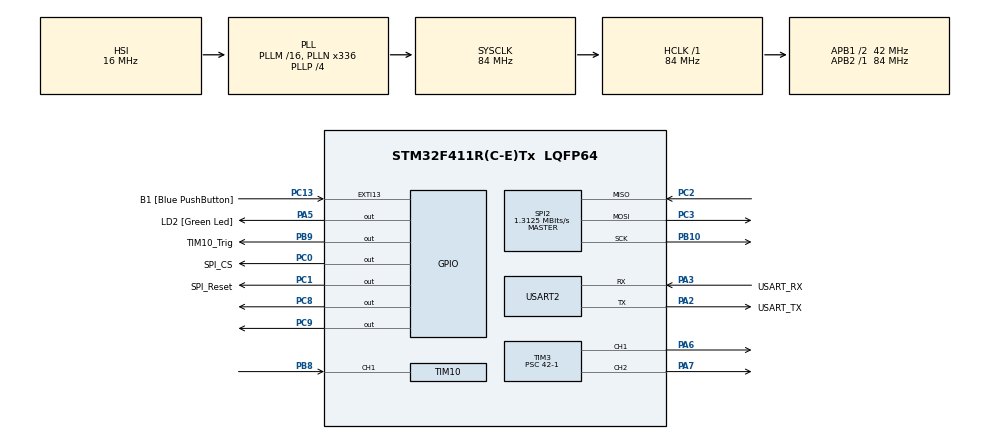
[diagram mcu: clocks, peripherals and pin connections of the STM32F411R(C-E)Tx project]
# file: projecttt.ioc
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FREERTOS.Mutexes01=accessBarang,Dynamic,NULL,Available
FREERTOS.Tasks01=defaultTask,0,128,StartDefaultTask,Default,NULL,Dynamic,NULL,NULL;myRFID,1,128,read_RFID,Default,NULL,Dynamic,NULL,NULL;myConveyor,2,128,move_conveyor,Default,NULL,Dynamic,NULL,NULL
FREERTOS.configUSE_NEWLIB_REENTRANT=1
Mcu.Family=STM32F4
Mcu.Name=STM32F411R(C-E)Tx
Mcu.Package=LQFP64
NVIC.PriorityGroup=NVIC_PRIORITYGROUP_4
NVIC.TIM1_TRG_COM_TIM11_IRQn=true\:15\:0\:false\:false\:true\:false\:false\:true\:true
NVIC.TIM1_UP_TIM10_IRQn=true\:15\:0\:false\:false\:true\:false\:true\:true\:true
NVIC.TimeBase=TIM1_TRG_COM_TIM11_IRQn
NVIC.TimeBaseIP=TIM11
PA13.GPIO_Label=TMS
PA13.Mode=Serial_Wire
PA13.Signal=SYS_JTMS-SWDIO
PA14.GPIO_Label=TCK
PA14.Mode=Serial_Wire
PA14.Signal=SYS_JTCK-SWCLK
PA2.GPIO_Label=USART_TX
PA2.Mode=Asynchronous
PA2.Signal=USART2_TX
PA3.GPIO_Label=USART_RX
PA3.Mode=Asynchronous
PA3.Signal=USART2_RX
PA5.GPIO_Label=LD2 [Green Led]
PA5.Signal=GPIO_Output
PA6.Signal=S_TIM3_CH1
PA7.Signal=S_TIM3_CH2
PB10.Mode=Full_Duplex_Master
PB10.Signal=SPI2_SCK
PB3.GPIO_Label=SWO
PB3.Signal=SYS_JTDO-SWO
PB8.Signal=S_TIM10_CH1
PB9.GPIO_Label=TIM10_Trig
PB9.Signal=GPIO_Output
PC0.GPIO_Label=SPI_CS
PC0.GPIO_PuPd=GPIO_NOPULL
PC0.Signal=GPIO_Output
PC1.GPIO_Label=SPI_Reset
PC1.Signal=GPIO_Output
PC13-ANTI_TAMP.GPIO_Label=B1 [Blue PushButton]
PC13-ANTI_TAMP.GPIO_ModeDefaultEXTI=GPIO_MODE_IT_FALLING
PC13-ANTI_TAMP.Signal=GPXTI13
PC14-OSC32_IN.Mode=LSE-External-Oscillator
PC14-OSC32_IN.Signal=RCC_OSC32_IN
PC15-OSC32_OUT.Mode=LSE-External-Oscillator
PC15-OSC32_OUT.Signal=RCC_OSC32_OUT
PC2.Mode=Full_Duplex_Master
PC2.Signal=SPI2_MISO
PC3.Mode=Full_Duplex_Master
PC3.Signal=SPI2_MOSI
PC8.Signal=GPIO_Output
PC9.Signal=GPIO_Output
PH0\ -\ OSC_IN.Mode=HSE-External-Clock-Source
PH0\ -\ OSC_IN.Signal=RCC_OSC_IN
PH1\ -\ OSC_OUT.Mode=HSE-External-Clock-Source
PH1\ -\ OSC_OUT.Signal=RCC_OSC_OUT
ProjectManager.HeapSize=0x200
ProjectManager.StackSize=0x400
ProjectManager.TargetToolchain=STM32CubeIDE
RCC.48MHZClocksFreq_Value=84000000
RCC.AHBFreq_Value=84000000
RCC.APB1CLKDivider=RCC_HCLK_DIV2
RCC.APB1Freq_Value=42000000
RCC.APB1TimFreq_Value=84000000
RCC.APB2Freq_Value=84000000
RCC.APB2TimFreq_Value=84000000
RCC.CortexFreq_Value=84000000
RCC.FLatency-AdvancedSettings=FLASH_LATENCY_2
RCC.HCLKFreq_Value=84000000
RCC.HSE_VALUE=8000000
RCC.HSI_VALUE=16000000
RCC.PLLN=336
RCC.PLLP=RCC_PLLP_DIV4
RCC.SYSCLKFreq_VALUE=84000000
RCC.SYSCLKSource=RCC_SYSCLKSOURCE_PLLCLK
RCC.VCOOutputFreq_Value=336000000
SH.S_TIM10_CH1.0=TIM10_CH1,Input_Capture1_from_TI1
SH.S_TIM3_CH1.0=TIM3_CH1,PWM Generation1 CH1
SH.S_TIM3_CH2.0=TIM3_CH2,PWM Generation2 CH2
SPI2.BaudRatePrescaler=SPI_BAUDRATEPRESCALER_32
SPI2.CalculateBaudRate=1.3125 MBits/s
SPI2.Direction=SPI_DIRECTION_2LINES
SPI2.Mode=SPI_MODE_MASTER
SPI2.VirtualType=VM_MASTER
TIM10.Channel=TIM_CHANNEL_1
TIM10.Prescaler=84-1
TIM3.Channel-PWM\ Generation1\ CH1=TIM_CHANNEL_1
TIM3.Channel-PWM\ Generation2\ CH2=TIM_CHANNEL_2
TIM3.Prescaler=42-1
USART2.VirtualMode=VM_ASYNC
VP_FREERTOS_VS_CMSIS_V1.Mode=CMSIS_V1
VP_SYS_VS_tim11.Mode=TIM11
VP_TIM10_VS_ClockSourceINT.Mode=Enable_Timer
VP_TIM3_VS_ClockSourceINT.Mode=Internal
board=NUCLEO-F411RE

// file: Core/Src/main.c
/* USER CODE BEGIN Header */
/**
  ******************************************************************************
  * @file           : main.c
  * @brief          : Main program body
  ******************************************************************************
  * @attention
  *
  * Copyright (c) 2026 STMicroelectronics.
  * All rights reserved.
  *
  * This software is licensed under terms that can be found in the LICENSE file
  * in the root directory of this software component.
  * If no LICENSE file comes with this software, it is provided AS-IS.
  *
  ******************************************************************************
  */
/* USER CODE END Header */
#include "main.h"
#include "cmsis_os.h"
#include "spi.h"
#include "tim.h"
#include "usart.h"
#include "gpio.h"

/* USER CODE BEGIN PM */

//#define TRIG_PIN GPIO_PIN_9
//#define TRIG_PORT GPIOB
/* USER CODE END PM */

void SystemClock_Config(void);
void MX_FREERTOS_Init(void);

/* USER CODE BEGIN 0 */

/*
void delay (uint16_t time)
{
	__HAL_TIM_SET_COUNTER(&htim10, 0);
	while (__HAL_TIM_GET_COUNTER (&htim10) < time);
}

uint32_t IC_Val1 = 0;
uint32_t IC_Val2 = 0;
uint32_t Difference = 0;
uint8_t Is_First_Captured = 0;  // is the first value captured ?
uint8_t Distance  = 0;

void HAL_TIM_IC_CaptureCallback(TIM_HandleTypeDef *htim)
{
	if (htim->Channel == HAL_TIM_ACTIVE_CHANNEL_10)  // if the interrupt source is channel1
	{
		if (Is_First_Captured==0) // if the first value is not captured
		{
			IC_Val1 = HAL_TIM_ReadCapturedValue(htim, TIM_CHANNEL_10); // read the first value
			Is_First_Captured = 1;  // set the first captured as true
			// Now change the polarity to falling edge
			__HAL_TIM_SET_CAPTUREPOLARITY(htim, TIM_CHANNEL_10, TIM_INPUTCHANNELPOLARITY_FALLING);
		}

		else if (Is_First_Captured==1)   // if the first is already captured
		{
			IC_Val2 = HAL_TIM_ReadCapturedValue(htim, TIM_CHANNEL_10);  // read second value
			__HAL_TIM_SET_COUNTER(htim, 0);  // reset the counter

			if (IC_Val2 > IC_Val1)
			{
				Difference = IC_Val2-IC_Val1;
			}

			else if (IC_Val1 > IC_Val2)
			{
				Difference = (0xffff - IC_Val1) + IC_Val2;
			}

			Distance = Difference * .034/2; //cek ntar jaraknya
			Is_First_Captured = 0; // set it back to false

			// set polarity to rising edge
			__HAL_TIM_SET_CAPTUREPOLARITY(htim, TIM_CHANNEL_10, TIM_INPUTCHANNELPOLARITY_RISING);
			__HAL_TIM_DISABLE_IT(&htim10, TIM_IT_CC1);
		}
	}
}
void HCSR04_Read (void)
{
	HAL_GPIO_WritePin(TRIG_PORT, TRIG_PIN, GPIO_PIN_SET);  // pull the TRIG pin HIGH
	delay(10);  // wait for 10 us
	HAL_GPIO_WritePin(TRIG_PORT, TRIG_PIN, GPIO_PIN_RESET);  // pull the TRIG pin low

	__HAL_TIM_ENABLE_IT(&htim10, TIM_IT_CC1);
}*/
/* USER CODE END 0 */

int main(void)
{

  /* MCU Configuration--------------------------------------------------------*/

  /* Reset of all peripherals, Initializes the Flash interface and the Systick. */
  HAL_Init();

  /* Configure the system clock */
  SystemClock_Config();

  /* Initialize all configured peripherals */
  MX_GPIO_Init();
  MX_USART2_UART_Init();
  MX_SPI2_Init();
  MX_TIM10_Init();
  MX_TIM3_Init();
  /* USER CODE BEGIN 2 */
  //MFRC522_Init(&rfID);
  HAL_TIM_IC_Start_IT(&htim10, TIM_CHANNEL_1);
  /* USER CODE END 2 */

  /* Call init function for freertos objects (in cmsis_os2.c) */
  MX_FREERTOS_Init();

  /* Start scheduler */
  osKernelStart();

  /* We should never get here as control is now taken by the scheduler */

  /* Infinite loop */
  /* USER CODE BEGIN WHILE */
/*
	HAL_GPIO_WritePin(GPIOC, GPIO_PIN_8, GPIO_PIN_SET);
	HAL_GPIO_WritePin(GPIOC, GPIO_PIN_9, GPIO_PIN_SET);

	// Start PWM Channels
	HAL_TIM_PWM_Start(&htim3, TIM_CHANNEL_1); // RPWM
	HAL_TIM_PWM_Start(&htim3, TIM_CHANNEL_2); // LPWM*/
  while (1)
  {
    /* USER CODE END WHILE */

    /* USER CODE BEGIN 3 */
	  //HCSR04_Read();
	  /*
	  __HAL_TIM_SET_COMPARE(&htim3, TIM_CHANNEL_1, 1500);
	  __HAL_TIM_SET_COMPARE(&htim3, TIM_CHANNEL_2, 0);
	  if (waitcardDetect(&rfID) == STATUS_OK){
		  if (MFRC522_ReadUid(&rfID, uid) == STATUS_OK){
			  USER_LOG("CARD ID:%02X %02X %02X %02X", uid[0], uid[1], uid[2], uid[3]);
		  }
		  waitcardRemoval(&rfID);
	  }
*/
  }
  /* USER CODE END 3 */
}

void SystemClock_Config(void)
{
  RCC_OscInitTypeDef RCC_OscInitStruct = {0};
  RCC_ClkInitTypeDef RCC_ClkInitStruct = {0};

  /** Configure the main internal regulator output voltage
  */
  __HAL_RCC_PWR_CLK_ENABLE();
  __HAL_PWR_VOLTAGESCALING_CONFIG(PWR_REGULATOR_VOLTAGE_SCALE1);

  /** Initializes the RCC Oscillators according to the specified parameters
  * in the RCC_OscInitTypeDef structure.
  */
  RCC_OscInitStruct.OscillatorType = RCC_OSCILLATORTYPE_HSI;
  RCC_OscInitStruct.HSIState = RCC_HSI_ON;
  RCC_OscInitStruct.HSICalibrationValue = RCC_HSICALIBRATION_DEFAULT;
  RCC_OscInitStruct.PLL.PLLState = RCC_PLL_ON;
  RCC_OscInitStruct.PLL.PLLSource = RCC_PLLSOURCE_HSI;
  RCC_OscInitStruct.PLL.PLLM = 16;
  RCC_OscInitStruct.PLL.PLLN = 336;
  RCC_OscInitStruct.PLL.PLLP = RCC_PLLP_DIV4;
  RCC_OscInitStruct.PLL.PLLQ = 4;
  if (HAL_RCC_OscConfig(&RCC_OscInitStruct) != HAL_OK)
  {
    Error_Handler();
  }

  /** Initializes the CPU, AHB and APB buses clocks
  */
  RCC_ClkInitStruct.ClockType = RCC_CLOCKTYPE_HCLK|RCC_CLOCKTYPE_SYSCLK
                              |RCC_CLOCKTYPE_PCLK1|RCC_CLOCKTYPE_PCLK2;
  RCC_ClkInitStruct.SYSCLKSource = RCC_SYSCLKSOURCE_PLLCLK;
  RCC_ClkInitStruct.AHBCLKDivider = RCC_SYSCLK_DIV1;
  RCC_ClkInitStruct.APB1CLKDivider = RCC_HCLK_DIV2;
  RCC_ClkInitStruct.APB2CLKDivider = RCC_HCLK_DIV1;

  if (HAL_RCC_ClockConfig(&RCC_ClkInitStruct, FLASH_LATENCY_2) != HAL_OK)
  {
    Error_Handler();
  }
}

void HAL_TIM_PeriodElapsedCallback(TIM_HandleTypeDef *htim)
{
  if (htim->Instance == TIM11)
  {
    HAL_IncTick();
  }
}

void Error_Handler(void)
{
  __disable_irq();
  while (1)
  {
  }
}

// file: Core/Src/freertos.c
/* USER CODE BEGIN Header */
/**
  ******************************************************************************
  * File Name          : freertos.c
  * Description        : Code for freertos applications
  ******************************************************************************
  * @attention
  *
  * Copyright (c) 2026 STMicroelectronics.
  * All rights reserved.
  *
  * This software is licensed under terms that can be found in the LICENSE file
  * in the root directory of this software component.
  * If no LICENSE file comes with this software, it is provided AS-IS.
  *
  ******************************************************************************
  */
/* USER CODE END Header */

#include "FreeRTOS.h"
#include "task.h"
#include "main.h"
#include "cmsis_os.h"

/* USER CODE BEGIN Includes */
#include "tim.h"
#include "usart.h"
#include "spi.h"
#include "MFRC522_STM32.h"
#include <string.h>
/* USER CODE END Includes */

/* USER CODE BEGIN PTD */
typedef enum {
    IDLE,
	RFID_DETECT,
	WAITING_PICKUP
} RFIDState_t;
/* USER CODE END PTD */

/* USER CODE BEGIN PD */
#define CS_GPIO_Port GPIOC
#define CS_Pin GPIO_PIN_0
#define RESET_GPIO_Port GPIOC
#define RESET_Pin GPIO_PIN_1

/* USER CODE END PD */

/* USER CODE BEGIN Variables */
RFIDState_t RFID_state = IDLE;
uint8_t uid[4];
//uint8_t writeData[16] = "DATA 1 GANTI";
MFRC522_t rfID = {&hspi2, CS_GPIO_Port, CS_Pin, RESET_GPIO_Port, RESET_Pin};
/*struct dataRead {
	int tag_id;
	char nama_barang[25];
	char kategori[25];
	int berat;
	int kode_rak_tujuan;
};*/

int _write(int fd, unsigned char *buf, int len) {
  if (fd == 1 || fd == 2) {                     // stdout or stderr ?
    HAL_UART_Transmit(&huart2, buf, len, 999);  // Print to the UART
  }
  return len;
}
/* USER CODE END Variables */
osThreadId defaultTaskHandle;
osThreadId myRFIDHandle;
osThreadId myConveyorHandle;
osMutexId accessBarangHandle;

void StartDefaultTask(void const * argument);
void read_RFID(void const * argument);
void move_conveyor(void const * argument);

void MX_FREERTOS_Init(void); /* (MISRA C 2004 rule 8.1) */

/* GetIdleTaskMemory prototype (linked to static allocation support) */
void vApplicationGetIdleTaskMemory( StaticTask_t **ppxIdleTaskTCBBuffer, StackType_t **ppxIdleTaskStackBuffer, uint32_t *pulIdleTaskStackSize );

/* USER CODE BEGIN GET_IDLE_TASK_MEMORY */
static StaticTask_t xIdleTaskTCBBuffer;
static StackType_t xIdleStack[configMINIMAL_STACK_SIZE];

void vApplicationGetIdleTaskMemory( StaticTask_t **ppxIdleTaskTCBBuffer, StackType_t **ppxIdleTaskStackBuffer, uint32_t *pulIdleTaskStackSize )
{
  *ppxIdleTaskTCBBuffer = &xIdleTaskTCBBuffer;
  *ppxIdleTaskStackBuffer = &xIdleStack[0];
  *pulIdleTaskStackSize = configMINIMAL_STACK_SIZE;
  /* place for user code */
}
/* USER CODE END GET_IDLE_TASK_MEMORY */

void MX_FREERTOS_Init(void) {
  /* Create the mutex(es) */
  /* definition and creation of accessBarang */
  osMutexDef(accessBarang);
  accessBarangHandle = osMutexCreate(osMutex(accessBarang));

  /* Create the thread(s) */
  /* definition and creation of defaultTask */
  osThreadDef(defaultTask, StartDefaultTask, osPriorityNormal, 0, 128);
  defaultTaskHandle = osThreadCreate(osThread(defaultTask), NULL);

  /* definition and creation of myRFID */
  osThreadDef(myRFID, read_RFID, osPriorityAboveNormal, 0, 128);
  myRFIDHandle = osThreadCreate(osThread(myRFID), NULL);

  /* definition and creation of myConveyor */
  osThreadDef(myConveyor, move_conveyor, osPriorityHigh, 0, 128);
  myConveyorHandle = osThreadCreate(osThread(myConveyor), NULL);

}

void StartDefaultTask(void const * argument)
{
  for(;;)
  {
    osDelay(1);
  }
}

void read_RFID(void const * argument)
{
  /* USER CODE BEGIN read_RFID */
  /* Infinite loop */
  MFRC522_Init(&rfID);
  //char buf[256] = {0,};
  for(;;)
  {
	  if (waitcardDetect(&rfID) == STATUS_OK){
		  osStatus status = osMutexWait(accessBarangHandle, osWaitForever);
		  if (status == osOK) {
			  RFID_state = RFID_DETECT;
			  osMutexRelease(accessBarangHandle);
		   }
		  if (MFRC522_ReadUid(&rfID, uid) == STATUS_OK){
			  //USER_LOG("CARD ID:%02X %02X %02X %02X", uid[0], uid[1], uid[2], uid[3]);
			  osDelay(1000);
		  }
		  waitcardRemoval(&rfID);
		  osMutexWait(accessBarangHandle, osWaitForever);
		  RFID_state = WAITING_PICKUP;
		  osMutexRelease(accessBarangHandle);
	  }
	  sprintf(buf, "state: %d", RFID_state);
	  HAL_UART_Transmit(&huart2, (const uint8_t*)buf, strlen(buf), 10);
	  osDelay(10);
  }
  /* USER CODE END read_RFID */
}

void move_conveyor(void const * argument)
{
  /* USER CODE BEGIN move_conveyor */
  /* Infinite loop */
  //static int belt_speed = 1000;
  //char buf[256] = {0,};
  HAL_GPIO_WritePin(GPIOC, GPIO_PIN_8, GPIO_PIN_SET);
  HAL_GPIO_WritePin(GPIOC, GPIO_PIN_9, GPIO_PIN_SET);

	// Start PWM Channels
  HAL_TIM_PWM_Start(&htim3, TIM_CHANNEL_1); // RPWM
  HAL_TIM_PWM_Start(&htim3, TIM_CHANNEL_2); // LPWM*/
  for(;;)
  {
	if(RFID_state == IDLE) {
		__HAL_TIM_SET_COMPARE(&htim3, TIM_CHANNEL_1, 1000);
		__HAL_TIM_SET_COMPARE(&htim3, TIM_CHANNEL_2, 0);
		osDelay(100);
	} else {
		__HAL_TIM_SET_COMPARE(&htim3, TIM_CHANNEL_1, 0);
		__HAL_TIM_SET_COMPARE(&htim3, TIM_CHANNEL_2, 0);
		osDelay(100);
	}
    osDelay(5);
    if(HAL_GPIO_ReadPin(GPIOC, GPIO_PIN_13)){
    	//RFID_state = IDLE;
    }
  }
  /* USER CODE END move_conveyor */
}
